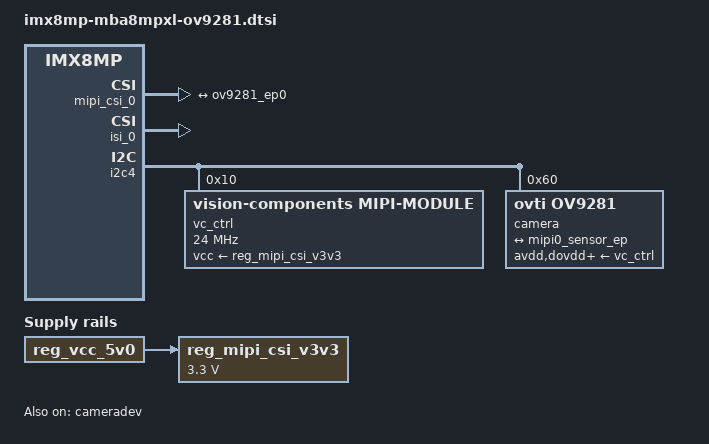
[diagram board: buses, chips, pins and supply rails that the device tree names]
// SPDX-License-Identifier: (GPL-2.0-or-later OR MIT)
/*
 * Copyright (c) 2021-2023 TQ-Systems GmbH <linux@ew.tq-group.com>,
 * D-82229 Seefeld, Germany.
 * Author: Alexander Stein
 */

/ {
	/* This voltage converter is located on the adapter board MBaxCA */
	reg_mipi_csi_v3v3: regulator-mipi-csi-v3v3 {
		compatible = "regulator-fixed";
		regulator-name = "MIPI_CSI_V_3V3";
		regulator-min-microvolt = <3300000>;
		regulator-max-microvolt = <3300000>;
		vin-supply = <&reg_vcc_5v0>;
	};
};

&cameradev {
	status = "okay";
};

/*
 * Dual use: Trigger / Sync / Enable for mipi_csi_0
 */
&ecspi1 {
	status = "disabled";
};

&mipi_csi_0 {
	status = "okay";

	port@0 {
		mipi0_sensor_ep: endpoint {
			remote-endpoint = <&ov9281_ep0>;
			data-lanes = <2>;
			csis-hs-settle = <13>;
			csis-clk-settle = <2>;
			csis-wclk;
		};
	};
};

&isi_0 {
	status = "okay";

	cap_device {
		status = "okay";
	};
};

&i2c4 {
	vc_ctrl: controller@10 {
		compatible = "vision-components,mipi-module";
		reg = <0x10>;
		#clock-cells = <0>;
		vcc-supply = <&reg_mipi_csi_v3v3>;
		clock-frequency = <24000000>;
	};

	camera@60 {
		compatible = "ovti,ov9281";
		reg = <0x60>;
		clocks = <&vc_ctrl>;

		avdd-supply = <&vc_ctrl>;
		dovdd-supply = <&vc_ctrl>;
		dvdd-supply = <&vc_ctrl>;

		port {
			ov9281_ep0: endpoint {
				remote-endpoint = <&mipi0_sensor_ep>;
				data-lanes = <1 2>;
				clock-lanes = <0>;
				clock-noncontinuous = <1>;
				link-frequencies = /bits/ 64 <400000000>;
			};
		};
	};
};

